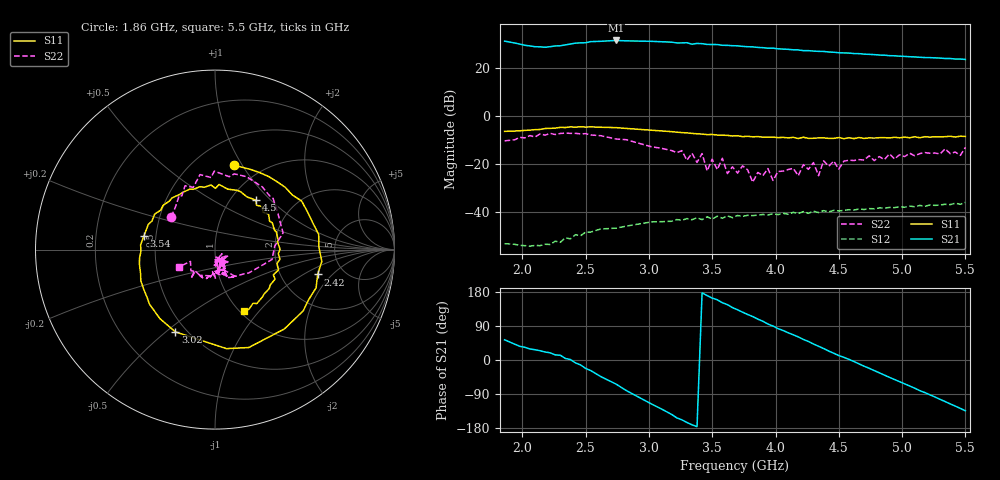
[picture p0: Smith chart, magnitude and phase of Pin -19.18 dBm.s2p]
! RsaToolbox (C) 2015 Rohde & Schwarz America
! Number of points: 81
! Number of ports: 2
! Balanced ports?: No
# Hz S RI R 50
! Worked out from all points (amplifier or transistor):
!   81 points, 1.86 GHz to 5.5 GHz, reference 50 ohm
!   highest |S21| = 31.7 dB at 2.74 GHz (marker M1)
!   |S21| within 3 dB of that: start of sweep to 3.89 GHz
!   unconditionally stable (mu >= 1): start of sweep to end of sweep
!   at 2.42 GHz: K = 2.66, MAG = 33.0 dB, |S12| = -49.6 dB
!   at 3.9 GHz: K = 1.94, MAG = 29.3 dB, |S12| = -41.1 dB
!   at 5.5 GHz: K = 1.73, MAG = 24.9 dB, |S12| = -36.0 dB
!   S11 on the Smith chart (normalised r, x): 1.86 GHz: 0.75, +0.92; 2.42 GHz: 3.23, -1.37; 3.02 GHz: 0.44, -0.54; 3.54 GHz: 0.43, +0.08; 4.5 GHz: 1.30, +0.82; 5.5 GHz: 1.05, -0.83
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1.86e9  0.107 0.4702  22.26 29.87  -2.59e-05 -0.00215  -0.2448 0.1823
1.98e9  0.2474 0.4295  26.07 19.04  -0.000591 -0.0019  -0.1987 0.3019
2.06e9  0.3422 0.3807  25.81 14.35  -0.000565 -0.00183  -0.1669 0.3558
2.3e9  0.5777 0.0839  29.04 6.498  -0.000573 -0.00223  0.1078 0.422
2.42e9  0.5719 -0.1385  33.47 -4.557  -0.00161 -0.0029  0.2642 0.3489
2.5e9  0.5214 -0.2793  31.86 -13.04  -0.0023 -0.00298  0.3238 0.2851
2.54e9  0.4917 -0.341  32.12 -16.96  -0.00226 -0.00301  0.3486 0.2079
2.74e9  0.1885 -0.5455  17.17 -34.38  -0.00422 -0.00171  0.3328 0.0195
2.82e9  0.0637 -0.5517  6.296 -37.17  -0.00493 -0.000922  0.3179 -0.0551
3.02e9  -0.2201 -0.4587  -16.2 -33.12  -0.00593 0.00164  0.1892 -0.1297
3.1e9  -0.3073 -0.3844  -22.91 -27.91  -0.00558 0.00275  0.1655 -0.1337
3.3e9  -0.4136 -0.1728  -33.24 -9.041  -0.00489 0.00532  0.0458 -0.1111
3.54e9  -0.3964 0.0753  -29.4 11.37  -0.00157 0.00793  0.0121 -0.0754
3.7e9  -0.3362 0.1979  -20.08 21.84  0.0011 0.00831  0.022 -0.0607
3.82e9  -0.253 0.2709  -11.77 25.59  0.00292 0.00781  0.00481 -0.0413
3.98e9  -0.14 0.3374  0.1574 26.55  0.00573 0.00707  0.0391 -0.0228
4.3e9  0.0822 0.3354  17.08 15.47  0.0101 0.00239  0.0805 -0.071
4.5e9  0.2282 0.2757  20.84 4.32  0.0103 -0.00168  0.043 -0.0658
4.66e9  0.2984 0.1983  20.05 -3.618  0.0103 -0.00503  0.0549 -0.1109
4.9e9  0.3479 0.0429  12.9 -13.25  0.0071 -0.0101  0.00297 -0.1627
5.22e9  0.3071 -0.1979  -0.5697 -16.8  -0.00115 -0.0139  -0.0834 -0.1455
5.5e9  0.1622 -0.3402  -10.71 -11.09  -0.00907 -0.0129  -0.2009 -0.0965
